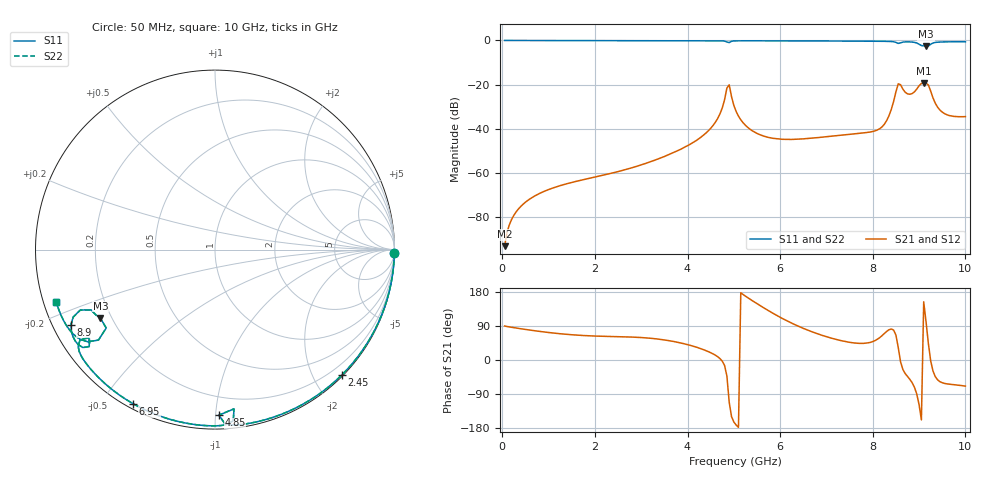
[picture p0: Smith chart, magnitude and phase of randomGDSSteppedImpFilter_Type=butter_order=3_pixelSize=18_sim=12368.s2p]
! freq	dB(S11)	phase(S11)	dB(S12)	phase(S12)
!  dB(S21)	phase(S21)	dB(S22)	phase(S22)
!S-par simulation data
#  GHz  S  DB  R 50
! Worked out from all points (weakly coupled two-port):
!   200 points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, 50 MHz to 10 GHz, reference 50 ohm
!   highest |S21| = -19.34 dB at 9.1 GHz (marker M1); lowest = -93.0 dB at 50 MHz (marker M2)
!   lowest |S11| = -2.6 dB at 9.15 GHz (marker M3), VSWR 6.81, Z = 7.89 - j13.5 ohm
!   |S11| at or under -10 dB: nowhere
!   |S22| runs from -2.6 to 0.0 dB; largest |S21 - S12| = 0
!   S11 on the Smith chart (normalised r, x): 50 MHz: open; 2.45 GHz: 0.02, -2.43; 4.85 GHz: 0.08, -1.02; 6.95 GHz: 0.02, -0.60; 8.9 GHz: 0.05, -0.24; 10 GHz: 0.04, -0.16
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0.05  -0.00 -1.0  -93.04 89.7  -93.04 89.7  -0.00 -1.0
0.8  -0.02 -14.9  -69.24 75.5  -69.24 75.5  -0.02 -14.9
1.75  -0.04 -32.2  -62.96 64.6  -62.96 64.6  -0.04 -32.2
2.45  -0.06 -44.7  -59.57 61.7  -59.57 61.7  -0.06 -44.7
3.4  -0.08 -61.3  -53.28 54.6  -53.28 54.6  -0.08 -61.3
4.45  -0.12 -79.2  -40.84 22.1  -40.84 22.1  -0.12 -79.2
4.7  -0.16 -84.0  -33.22 3.8  -33.22 3.8  -0.16 -84.0
4.85  -0.70 -88.7  -21.50 -42.4  -21.50 -42.4  -0.70 -88.7
4.9  -0.97 -83.2  -20.06 -111.4  -20.06 -111.4  -0.98 -83.2
5.05  -0.19 -86.9  -32.15 -171.7  -32.15 -171.7  -0.19 -86.9
5.3  -0.16 -91.7  -39.33 164.4  -39.33 164.4  -0.16 -91.7
5.65  -0.17 -97.5  -43.30 137.4  -43.30 137.4  -0.17 -97.5
6.7  -0.23 -114.0  -44.17 73.8  -44.17 73.8  -0.23 -114.0
6.95  -0.24 -117.9  -43.64 63.4  -43.64 63.4  -0.24 -117.9
8.05  -0.35 -135.8  -40.88 51.3  -40.88 51.3  -0.35 -135.8
8.35  -0.44 -141.9  -34.04 79.9  -34.04 79.9  -0.44 -141.9
8.55  -1.33 -145.0  -19.61 33.1  -19.61 33.1  -1.37 -145.0
8.9  -0.87 -152.5  -23.24 -71.9  -23.24 -71.9  -0.87 -152.4
9.1  -2.44 -151.0  -19.34 153.6  -19.34 153.6  -2.43 -151.1
9.15  -2.57 -149.2  -19.34 101.1  -19.34 101.1  -2.57 -149.3
9.5  -0.67 -151.1  -32.40 -60.0  -32.40 -60.0  -0.67 -151.1
10  -0.61 -161.6  -34.46 -68.9  -34.46 -68.9  -0.61 -161.6
